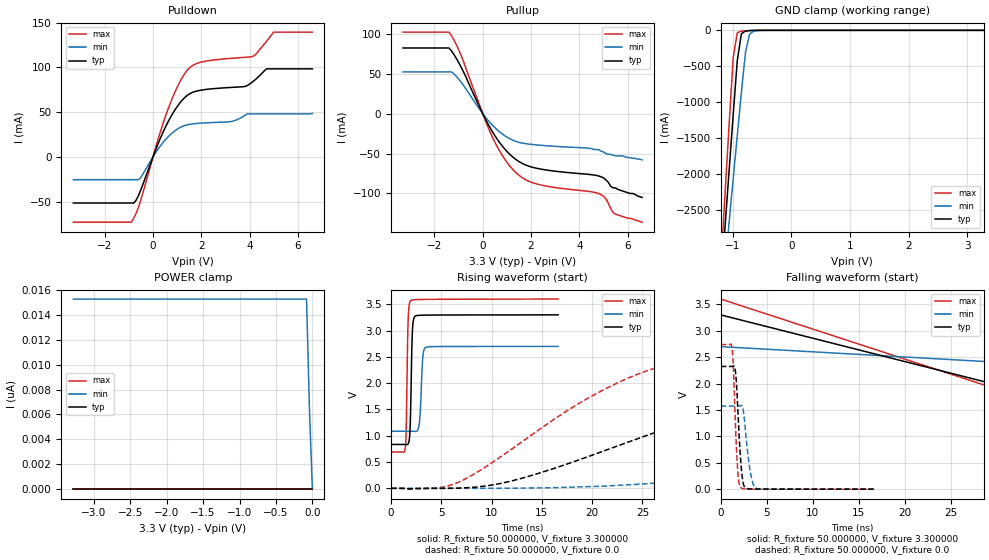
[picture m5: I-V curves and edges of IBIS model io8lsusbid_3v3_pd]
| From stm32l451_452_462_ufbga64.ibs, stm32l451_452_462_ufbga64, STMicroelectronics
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|   Model io8lsusbid_3v3_pd
[Model]  io8lsusbid_3v3_pd
Model_type I/O
Polarity   Non-Inverting
Enable   Active-Low
Vinl =   0.990000V
Vinh =   2.310000V
Vmeas =  1.650000V
Cref =   100.000000nF
Rref =   1.000000k
Vref =   3.300000V
C_comp   2.116400pF   2.092700pF   2.152900pF
[Temperature Range]   25.000000   0.125000k   -40.000000
[Pullup Reference]   3.300000V   2.700000V   3.600000V
[Pulldown Reference]   0.0V   0.0V   0.0V
[POWER Clamp Reference]   3.300000V   2.700000V   3.600000V
[GND Clamp Reference]   0.0V   0.0V   0.0V
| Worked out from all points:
|   slope of the pulldown table from 0 to 0.495 V, typ, clamps not added: 15.4 ohm
|   slope of the pullup table from 0 to 0.495 V, typ, clamps not added: 18.1 ohm
|   GND clamp passes 1 mA (typ) near -0.59 V on its own axis
|   rising waveform, R_fixture 50.000000, V_fixture 3.300000: 20-80 % time 165ps typ, 225ps min, 149ps max; typ from 0.835 V to 3.3 V
|   rising waveform, R_fixture 50.000000, V_fixture 0.0: 20-80 % time 23.9ns typ, 53.3ns min, 14.3ns max; typ from 0 V to 2.32 V
|   falling waveform, R_fixture 50.000000, V_fixture 3.300000: 20-80 % time 33.5ns typ, 61.1ns min, 30.7ns max; typ from 3.3 V to 0.835 V
|   falling waveform, R_fixture 50.000000, V_fixture 0.0: 20-80 % time 449ps typ, 626ps min, 371ps max; typ from 2.32 V to 0 V
[Pulldown]
|Voltage   I(typ)   I(min)   I(max)
-3.3V     -51.63mA   -25.53mA   -73.04mA
-900mV    -51.63mA   -25.53mA   -73.04mA
-500mV    -36.51mA   -22.8mA    -47.71mA
200mV     14.02mA    8.316mA    18.9mA
700mV     42.99mA    24.4mA     58.9mA
1.2V      63.06mA    33.8mA     88.14mA
1.6V      71.63mA    36.67mA    101.4mA
3.2V      77.51mA    39.29mA    110mA
4.1V      83.27mA    48mA       111.9mA
4.7V      98.3mA     48mA       129mA
5V        98.3mA     48mA       139.4mA
6.6V      98.3mA     48.43mA    139.4mA
[Pullup]
|Voltage   I(typ)   I(min)   I(max)
-3.3V     82.22mA    52.22mA    102.1mA
-1.4V     82.22mA    52.22mA    102.1mA
-900mV    58.55mA    39.64mA    73.33mA
100mV     -6.166mA   -3.962mA   -8.038mA
500mV     -27.53mA   -17.49mA   -35.6mA
1V        -47.29mA   -29.37mA   -60.81mA
1.5V      -60.05mA   -35.95mA   -77.15mA
2.4V      -69.45mA   -39.66mA   -89.34mA
4.8V      -78.1mA    -45mA      -100.1mA
5.1V      -83mA      -50mA      -106.7mA
5.5V      -93mA      -53mA      -126mA
6.6V      -105mA     -58mA      -136mA
[GND_clamp]
|Voltage   I(typ)   I(min)   I(max)
-3.3V     -9.914A    -9.595A    -9.188A
-1.2V     -3.541A    -3.911A    -3.279A
-1.13V    -2.75A     -3.295A    -2.301A
-1.06V    -1.963A    -2.68A     -1.33A
-990mV    -1.183A    -2.069A    -386.7mA
-920mV    -424.7mA   -1.463A    -31.42mA
-850mV    -49.13mA   -868.7mA   -10.49mA
-780mV    -9.132mA   -308.3mA   -6.726mA
-710mV    -3.661mA   -53.82mA   -3.996mA
-640mV    -1.738mA   -11.05mA   -1.896mA
-430mV    -33.31uA   -129.6uA   -18.85uA
3.28V     86.93uA    88.78uA    71.45uA
[POWER_clamp]
|Voltage   I(typ)   I(min)   I(max)
-3.28V    0A         15.27nA    0A
-80mV     0A         15.27nA    0A
-40mV     0A         6.354nA    0A
0V        0A         0A         0A
[Ramp]
| variable   typ   min   max
dV/dt_r  1.39404/23.91093n   0.94416/53.26977n   1.64262/14.30157n
dV/dt_f  1.47860/21.09034n   0.96750/44.71088n   1.74566/13.58933n
R_load = 50.000000
[Rising Waveform]
R_fixture= 50.000000
V_fixture= 3.300000
V_fixture_min= 2.700000
V_fixture_max= 3.600000
|time   V(typ)   V(min)   V(max)
0s        834.7mV    1.086V     689.8mV
1.401ns   834.1mV    1.086V     751.3mV
1.502ns   833.5mV    1.086V     1.116V
1.702ns   846.8mV    1.086V     3.237V
1.969ns   1.728V     1.086V     3.572V
2.135ns   3.042V     1.085V     3.583V
2.402ns   3.275V     1.082V     3.587V
2.803ns   3.29V      1.23V      3.59V
3.437ns   3.293V     2.677V     3.592V
16.62ns   3.299V     2.699V     3.599V
[Rising Waveform]
R_fixture= 50.000000
V_fixture= 0.0
V_fixture_min= 0.0
V_fixture_max= 0.0
|time   V(typ)   V(min)   V(max)
0s        3.142nV    58.62nV    2.998nV
6.607ns   3.524mV    -131.4uV   106.9mV
13.21ns   202.3mV    4.86mV     911.6mV
19.22ns   576.9mV    29.88mV    1.674V
25.23ns   991.2mV    84.9mV     2.22V
38.44ns   1.736V     312.3mV    2.613V
58.26ns   2.177V     728mV      2.711V
86.49ns   2.289V     1.197V     2.734V
112.9ns   2.314V     1.42V      2.737V
299.1ns   2.323V     1.574V     2.738V
[Falling Waveform]
R_fixture= 50.000000
V_fixture= 3.300000
V_fixture_min= 2.700000
V_fixture_max= 3.600000
|time   V(typ)   V(min)   V(max)
0s        3.299V     2.699V     3.599V
50.05ns   1.088V     2.207V     752.5mV
100.1ns   862.5mV    1.296V     694.5mV
150.2ns   839.9mV    1.146V     690.2mV
200.2ns   835.7mV    1.105V     689.8mV
300.3ns   834.7mV    1.089V     689.8mV
4.955us   834.7mV    1.086V     689.8mV
[Falling Waveform]
R_fixture= 50.000000
V_fixture= 0.0
V_fixture_min= 0.0
V_fixture_max= 0.0
|time   V(typ)   V(min)   V(max)
0s        2.323V     1.574V     2.738V
1.201ns   2.323V     1.574V     2.69V
1.368ns   2.329V     1.574V     2.3V
1.535ns   2.292V     1.574V     1.487V
1.802ns   1.675V     1.573V     440.2mV
2.202ns   452.5mV    1.586V     27.12mV
2.569ns   45.42mV    1.302V     5.93mV
3.203ns   3.672mV    331.3mV    2.159mV
3.804ns   1.6mV      20.25mV    1.327mV
16.62ns   3.142nV    58.62nV    2.998nV
